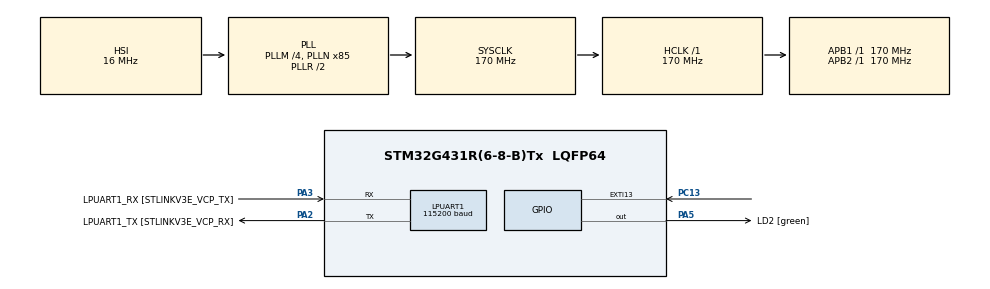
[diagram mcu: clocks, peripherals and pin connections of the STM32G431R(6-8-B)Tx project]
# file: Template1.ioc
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FREERTOS.BinarySemaphores01=myBinarySem01,Dynamic,NULL
FREERTOS.Mutexes01=myMutex01,Dynamic,NULL
FREERTOS.Queues01=myQueue01,16,uint16_t,0,Dynamic,NULL,NULL
FREERTOS.Tasks01=defaultTask,24,128,StartDefaultTask,Default,NULL,Dynamic,NULL,NULL;myTaskLow02,8,128,StartTask02,Default,NULL,Dynamic,NULL,NULL
FREERTOS.Timers01=myTimer01,Callback01,osTimerPeriodic,Default,NULL,Dynamic,NULL
FREERTOS.configTOTAL_HEAP_SIZE=3572
FREERTOS.configUSE_NEWLIB_REENTRANT=1
LPUART1.BaudRate=115200
LPUART1.WordLength=UART_WORDLENGTH_8B
Mcu.Family=STM32G4
Mcu.Name=STM32G431R(6-8-B)Tx
Mcu.Package=LQFP64
Mcu.UserConstants=userConstant1,1
NVIC.EXTI15_10_IRQn=true\:5\:0\:false\:false\:true\:true\:true\:true\:true
NVIC.PriorityGroup=NVIC_PRIORITYGROUP_4
NVIC.TIM6_DAC_IRQn=true\:15\:0\:false\:false\:true\:false\:false\:true\:true
NVIC.TimeBase=TIM6_DAC_IRQn
NVIC.TimeBaseIP=TIM6
PA13.GPIO_Label=T_SWDIO
PA13.Mode=Trace_Asynchronous_SW
PA13.Signal=SYS_JTMS-SWDIO
PA14.GPIO_Label=T_SWCLK
PA14.Mode=Trace_Asynchronous_SW
PA14.Signal=SYS_JTCK-SWCLK
PA2.GPIO_Label=LPUART1_TX [STLINKV3E_VCP_RX]
PA2.Mode=Asynchronous
PA2.Signal=LPUART1_TX
PA3.GPIO_Label=LPUART1_RX [STLINKV3E_VCP_TX]
PA3.Mode=Asynchronous
PA3.Signal=LPUART1_RX
PA5.GPIO_Label=LD2 [green]
PA5.Signal=GPIO_Output
PB3.GPIO_Label=T_SWO
PB3.Mode=Trace_Asynchronous_SW
PB3.Signal=SYS_JTDO-SWO
PC13.Signal=GPXTI13
PC14-OSC32_IN.Mode=LSE-External-Oscillator
PC14-OSC32_IN.Signal=RCC_OSC32_IN
PC15-OSC32_OUT.Mode=LSE-External-Oscillator
PC15-OSC32_OUT.Signal=RCC_OSC32_OUT
PF0-OSC_IN.Mode=HSE-External-Oscillator
PF0-OSC_IN.Signal=RCC_OSC_IN
PF1-OSC_OUT.Mode=HSE-External-Oscillator
PF1-OSC_OUT.Signal=RCC_OSC_OUT
ProjectManager.HeapSize=0x200
ProjectManager.StackSize=0x400
ProjectManager.TargetToolchain=STM32CubeIDE
RCC.ADC12Freq_Value=170000000
RCC.AHBFreq_Value=170000000
RCC.APB1Freq_Value=170000000
RCC.APB1TimFreq_Value=170000000
RCC.APB2Freq_Value=170000000
RCC.APB2TimFreq_Value=170000000
RCC.CortexFreq_Value=170000000
RCC.EXTERNAL_CLOCK_VALUE=12288000
RCC.HCLKFreq_Value=170000000
RCC.HSE_VALUE=24000000
RCC.HSI48_VALUE=48000000
RCC.HSI_VALUE=16000000
RCC.PLLM=RCC_PLLM_DIV4
RCC.PLLN=85
RCC.RTCClockSelection=RCC_RTCCLKSOURCE_LSE
RCC.SYSCLKFreq_VALUE=170000000
RCC.SYSCLKSource=RCC_SYSCLKSOURCE_PLLCLK
RCC.USBFreq_Value=170000000
RCC.VCOOutputFreq_Value=340000000
VP_FREERTOS_VS_CMSIS_V2.Mode=CMSIS_V2
VP_SYS_VS_DBSignals.Mode=DisableDeadBatterySignals
VP_SYS_VS_tim6.Mode=TIM6
board=NUCLEO-G431RB

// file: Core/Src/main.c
/* USER CODE BEGIN Header */
/**
 ******************************************************************************
 * @file           : main.c
 * @brief          : Main program body
 ******************************************************************************
 * @attention
 *
 * Copyright (c) 2023 STMicroelectronics.
 * All rights reserved.
 *
 * This software is licensed under terms that can be found in the LICENSE file
 * in the root directory of this software component.
 * If no LICENSE file comes with this software, it is provided AS-IS.
 *
 ******************************************************************************
 */
/* USER CODE END Header */
#include "main.h"
#include "cmsis_os.h"

/* USER CODE BEGIN Includes */
#include <stdio.h>
#include <stdarg.h>
/* USER CODE END Includes */

/* USER CODE BEGIN PD */
#define FLAGS_MSK1 0x00000002U
/* USER CODE END PD */

/* USER CODE BEGIN PM */
#define printf(...) UARTPrintf(__VA_ARGS__)
/* USER CODE END PM */

UART_HandleTypeDef hlpuart1;

/* Definitions for defaultTask */
osThreadId_t defaultTaskHandle;
const osThreadAttr_t defaultTask_attributes = {
  .name = "defaultTask",
  .priority = (osPriority_t) osPriorityNormal,
  .stack_size = 128 * 4
};
/* Definitions for myTaskLow02 */
osThreadId_t myTaskLow02Handle;
const osThreadAttr_t myTaskLow02_attributes = {
  .name = "myTaskLow02",
  .priority = (osPriority_t) osPriorityNormal,
  .stack_size = 128 * 4
};
/* Definitions for myQueue01 */
osMessageQueueId_t myQueue01Handle;
const osMessageQueueAttr_t myQueue01_attributes = {
  .name = "myQueue01"
};
/* Definitions for myTimer01 */
osTimerId_t myTimer01Handle;
const osTimerAttr_t myTimer01_attributes = {
  .name = "myTimer01"
};
/* Definitions for myMutex01 */
osMutexId_t myMutex01Handle;
const osMutexAttr_t myMutex01_attributes = {
  .name = "myMutex01"
};
/* Definitions for myBinarySem01 */
osSemaphoreId_t myBinarySem01Handle;
const osSemaphoreAttr_t myBinarySem01_attributes = {
  .name = "myBinarySem01"
};
/* USER CODE BEGIN PV */
osEventFlagsId_t evt_id;
/* USER CODE END PV */

void SystemClock_Config(void);
static void MX_GPIO_Init(void);
static void MX_LPUART1_UART_Init(void);
void StartDefaultTask(void *argument);
void StartTask02(void *argument);
void Callback01(void *argument);

/* USER CODE BEGIN PFP */
void Task_action(char message);
/* USER CODE END PFP */

/* USER CODE BEGIN 0 */
int Init_Events (void) {

  evt_id = osEventFlagsNew(NULL);
  if (evt_id == NULL) {
    ; // Event Flags object not created, handle failure
  }
  return(0);
}
/* USER CODE END 0 */

int main(void)
{

  /* MCU Configuration--------------------------------------------------------*/

  /* Reset of all peripherals, Initializes the Flash interface and the Systick. */
  HAL_Init();

  /* USER CODE BEGIN Init */
  Init_Events();
  /* USER CODE END Init */

  /* Configure the system clock */
  SystemClock_Config();

  /* USER CODE BEGIN SysInit */
	SysTick_Config(SystemCoreClock / 1000000);
  /* USER CODE END SysInit */

  /* Initialize all configured peripherals */
  MX_GPIO_Init();
  MX_LPUART1_UART_Init();
  /* USER CODE BEGIN 2 */
	/* Configure LED2 */
	BSP_LED_Init(LED2);
	/* Initialize User_Button on STM32G4xx-Nucleo ------------------*/
	BSP_PB_Init(BUTTON_USER, BUTTON_MODE_EXTI);
  /* USER CODE END 2 */

  /* Init scheduler */
  osKernelInitialize();
  /* Create the mutex(es) */
  /* creation of myMutex01 */
  myMutex01Handle = osMutexNew(&myMutex01_attributes);

  /* Create the semaphores(s) */
  /* creation of myBinarySem01 */
  myBinarySem01Handle = osSemaphoreNew(1, 1, &myBinarySem01_attributes);

  /* Create the timer(s) */
  /* creation of myTimer01 */
  myTimer01Handle = osTimerNew(Callback01, osTimerPeriodic, NULL, &myTimer01_attributes);

  /* USER CODE BEGIN RTOS_TIMERS */
	/* start timers, add new ones, ... */
	osTimerStart (myTimer01Handle,5000);
  /* USER CODE END RTOS_TIMERS */

  /* Create the queue(s) */
  /* creation of myQueue01 */
  myQueue01Handle = osMessageQueueNew (16, sizeof(uint16_t), &myQueue01_attributes);

  /* Create the thread(s) */
  /* creation of defaultTask */
  defaultTaskHandle = osThreadNew(StartDefaultTask, NULL, &defaultTask_attributes);

  /* creation of myTaskLow02 */
  myTaskLow02Handle = osThreadNew(StartTask02, NULL, &myTaskLow02_attributes);

  /* Start scheduler */
  osKernelStart();

  /* We should never get here as control is now taken by the scheduler */
  /* Infinite loop */
	while (1) {

	}
}

void SystemClock_Config(void)
{
  RCC_OscInitTypeDef RCC_OscInitStruct = {0};
  RCC_ClkInitTypeDef RCC_ClkInitStruct = {0};

  /** Configure the main internal regulator output voltage
  */
  HAL_PWREx_ControlVoltageScaling(PWR_REGULATOR_VOLTAGE_SCALE1_BOOST);

  /** Initializes the RCC Oscillators according to the specified parameters
  * in the RCC_OscInitTypeDef structure.
  */
  RCC_OscInitStruct.OscillatorType = RCC_OSCILLATORTYPE_HSI;
  RCC_OscInitStruct.HSIState = RCC_HSI_ON;
  RCC_OscInitStruct.HSICalibrationValue = RCC_HSICALIBRATION_DEFAULT;
  RCC_OscInitStruct.PLL.PLLState = RCC_PLL_ON;
  RCC_OscInitStruct.PLL.PLLSource = RCC_PLLSOURCE_HSI;
  RCC_OscInitStruct.PLL.PLLM = RCC_PLLM_DIV4;
  RCC_OscInitStruct.PLL.PLLN = 85;
  RCC_OscInitStruct.PLL.PLLP = RCC_PLLP_DIV2;
  RCC_OscInitStruct.PLL.PLLQ = RCC_PLLQ_DIV2;
  RCC_OscInitStruct.PLL.PLLR = RCC_PLLR_DIV2;
  if (HAL_RCC_OscConfig(&RCC_OscInitStruct) != HAL_OK)
  {
    Error_Handler();
  }

  /** Initializes the CPU, AHB and APB buses clocks
  */
  RCC_ClkInitStruct.ClockType = RCC_CLOCKTYPE_HCLK|RCC_CLOCKTYPE_SYSCLK
                              |RCC_CLOCKTYPE_PCLK1|RCC_CLOCKTYPE_PCLK2;
  RCC_ClkInitStruct.SYSCLKSource = RCC_SYSCLKSOURCE_PLLCLK;
  RCC_ClkInitStruct.AHBCLKDivider = RCC_SYSCLK_DIV1;
  RCC_ClkInitStruct.APB1CLKDivider = RCC_HCLK_DIV1;
  RCC_ClkInitStruct.APB2CLKDivider = RCC_HCLK_DIV1;

  if (HAL_RCC_ClockConfig(&RCC_ClkInitStruct, FLASH_LATENCY_4) != HAL_OK)
  {
    Error_Handler();
  }
}

static void MX_LPUART1_UART_Init(void)
{

  hlpuart1.Instance = LPUART1;
  hlpuart1.Init.BaudRate = 115200;
  hlpuart1.Init.WordLength = UART_WORDLENGTH_8B;
  hlpuart1.Init.StopBits = UART_STOPBITS_1;
  hlpuart1.Init.Parity = UART_PARITY_NONE;
  hlpuart1.Init.Mode = UART_MODE_TX_RX;
  hlpuart1.Init.HwFlowCtl = UART_HWCONTROL_NONE;
  hlpuart1.Init.OneBitSampling = UART_ONE_BIT_SAMPLE_DISABLE;
  hlpuart1.Init.ClockPrescaler = UART_PRESCALER_DIV1;
  hlpuart1.AdvancedInit.AdvFeatureInit = UART_ADVFEATURE_NO_INIT;
  if (HAL_UART_Init(&hlpuart1) != HAL_OK)
  {
    Error_Handler();
  }
  if (HAL_UARTEx_SetTxFifoThreshold(&hlpuart1, UART_TXFIFO_THRESHOLD_1_8) != HAL_OK)
  {
    Error_Handler();
  }
  if (HAL_UARTEx_SetRxFifoThreshold(&hlpuart1, UART_RXFIFO_THRESHOLD_1_8) != HAL_OK)
  {
    Error_Handler();
  }
  if (HAL_UARTEx_DisableFifoMode(&hlpuart1) != HAL_OK)
  {
    Error_Handler();
  }

}

static void MX_GPIO_Init(void)
{
  GPIO_InitTypeDef GPIO_InitStruct = {0};

  /* GPIO Ports Clock Enable */
  __HAL_RCC_GPIOC_CLK_ENABLE();
  __HAL_RCC_GPIOF_CLK_ENABLE();
  __HAL_RCC_GPIOA_CLK_ENABLE();
  __HAL_RCC_GPIOB_CLK_ENABLE();

  /*Configure GPIO pin Output Level */
  HAL_GPIO_WritePin(LD2_GPIO_Port, LD2_Pin, GPIO_PIN_RESET);

  /*Configure GPIO pin : PC13 */
  GPIO_InitStruct.Pin = GPIO_PIN_13;
  GPIO_InitStruct.Mode = GPIO_MODE_IT_RISING;
  GPIO_InitStruct.Pull = GPIO_NOPULL;
  HAL_GPIO_Init(GPIOC, &GPIO_InitStruct);

  /*Configure GPIO pin : LD2_Pin */
  GPIO_InitStruct.Pin = LD2_Pin;
  GPIO_InitStruct.Mode = GPIO_MODE_OUTPUT_PP;
  GPIO_InitStruct.Pull = GPIO_NOPULL;
  GPIO_InitStruct.Speed = GPIO_SPEED_FREQ_LOW;
  HAL_GPIO_Init(LD2_GPIO_Port, &GPIO_InitStruct);

  /* EXTI interrupt init*/
  HAL_NVIC_SetPriority(EXTI15_10_IRQn, 5, 0);
  HAL_NVIC_EnableIRQ(EXTI15_10_IRQn);

}

/* USER CODE BEGIN 4 */

void Task_action(char message) {
	ITM_SendChar(message);
	ITM_SendChar('\n');
}

void UseMutexRecursively(int count) {
  osStatus_t result = osMutexAcquire(myMutex01Handle, osWaitForever);  // lock count is incremented, might fail when lock count is depleted
  if (result == osOK) {
    if (count < 10) {
      UseMutexRecursively(count + 1);
    }
    osMutexRelease(myMutex01Handle); // lock count is decremented, actually releases the mutex on lock count zero
  }
}

void UARTPrintf(const char *pFormat, ...) {
	char buffer[64];
	va_list args;
	va_start(args, pFormat);
	__disable_irq();
	int len = vsprintf(buffer, pFormat, args);
	__enable_irq();

	for (int i = 0; i < len; i++) {
		__disable_irq();
		HAL_UART_Transmit(&hlpuart1, (uint8_t*) &buffer[i], 1, HAL_MAX_DELAY);
		__enable_irq();
	}
	va_end(args);
}

/**
 * @brief EXTI line detection callback.
 * @param GPIO_Pin: Specifies the pins connected EXTI line
 * @retval None
 */
void HAL_GPIO_EXTI_Callback(uint16_t GPIO_Pin) {
	{
		/* your user button callback here*/
		if (GPIO_Pin == USER_BUTTON_PIN) {
			UseMutexRecursively(5);
		    Task_action('1');
		}
	}
}

/* USER CODE END 4 */

void StartDefaultTask(void *argument)
{
  /* USER CODE BEGIN 5 */
	/* Infinite loop */
	for (;;) {
	    osEventFlagsSet(evt_id, FLAGS_MSK1);
	    osThreadYield();                         // suspend thread
	}
  /* USER CODE END 5 */
}

void StartTask02(void *argument)
{
  /* USER CODE BEGIN StartTask02 */
	  uint32_t flags;
	  char c;
	/* Infinite loop */
	for (;;) {
	    flags = osEventFlagsWait(evt_id, FLAGS_MSK1, osFlagsWaitAny, osWaitForever);
	    //handle event
	    c = flags +'0';
	    Task_action(c);
	}
  /* USER CODE END StartTask02 */
}

/* Callback01 function */
void Callback01(void *argument)
{
  /* USER CODE BEGIN Callback01 */
	UseMutexRecursively(5);
  /* USER CODE END Callback01 */
}

void HAL_TIM_PeriodElapsedCallback(TIM_HandleTypeDef *htim)
{
  if (htim->Instance == TIM6) {
    HAL_IncTick();
  }
}

void Error_Handler(void)
{
	__disable_irq();
	while (1) {
	}
}
